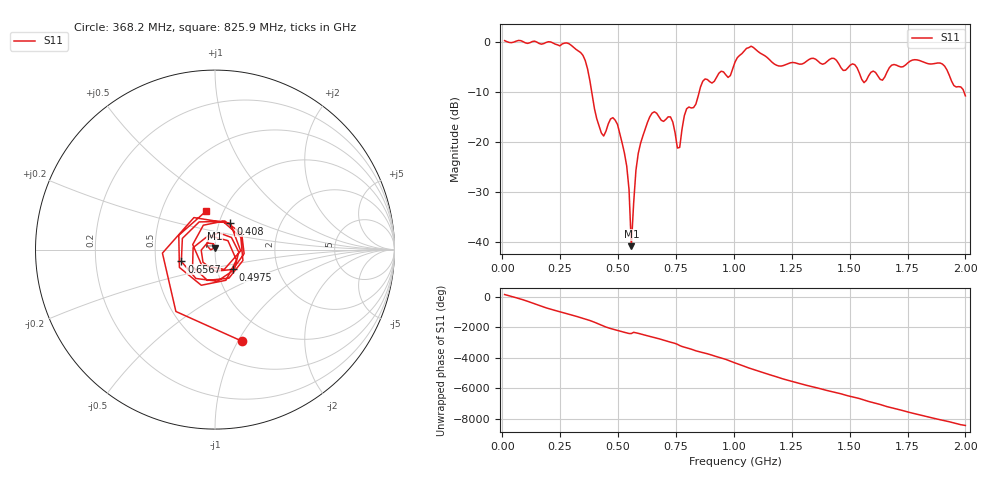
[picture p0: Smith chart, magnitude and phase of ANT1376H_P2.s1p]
!Created with skrf (http://scikit-rf.org).
# Hz S RI R 50.0
!freq ReS11 ImS11
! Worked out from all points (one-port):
!   201 points, 10 MHz to 2 GHz, reference 50 ohm
!   lowest |S11| = -40.9 dB at 557.2 MHz (marker M1), VSWR 1.02, Z = 49.8 + j0.877 ohm
!   |S11| at or under -10 dB: 385.8 MHz to 850.9 MHz (465 MHz wide, 75.2 % of centre); 1.993288 GHz to end of sweep
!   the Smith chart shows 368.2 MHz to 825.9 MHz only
!   S11 on the Smith chart (normalised r, x): 368.2 MHz: 0.73, -1.04; 408 MHz: 1.13, +0.34; 497.6 MHz: 1.19, -0.27; 656.8 MHz: 0.68, -0.09; 825.9 MHz: 0.83, +0.37
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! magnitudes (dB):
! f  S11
! 10 MHz  0.2
! 258.8 MHz  -0.5
! 368.2 MHz  -5.5
! 408 MHz  -15.4
! 437.9 MHz  -18.9
! 467.7 MHz  -15.5
! 497.6 MHz  -16.6
! 507.5 MHz  -18.4
! 537.4 MHz  -24.9
! 547.3 MHz  -29.5
! 557.2 MHz  -40.9
! 577.1 MHz  -25.7
! 587.1 MHz  -22.4
! 656.8 MHz  -14.0
! 726.4 MHz  -15.1
! 756.2 MHz  -21.3
! 796 MHz  -13.4
! 825.9 MHz  -13.2
! 865.7 MHz  -7.9
! 975.1 MHz  -7.2
! 1.005 GHz  -4.1
! 1.075 GHz  -0.9
! 1.254 GHz  -4.2
! 1.502 GHz  -4.7
! 1.562 GHz  -8.2
! 1.751 GHz  -4.3
! 1.901 GHz  -4.5
! 2 GHz  -10.9
